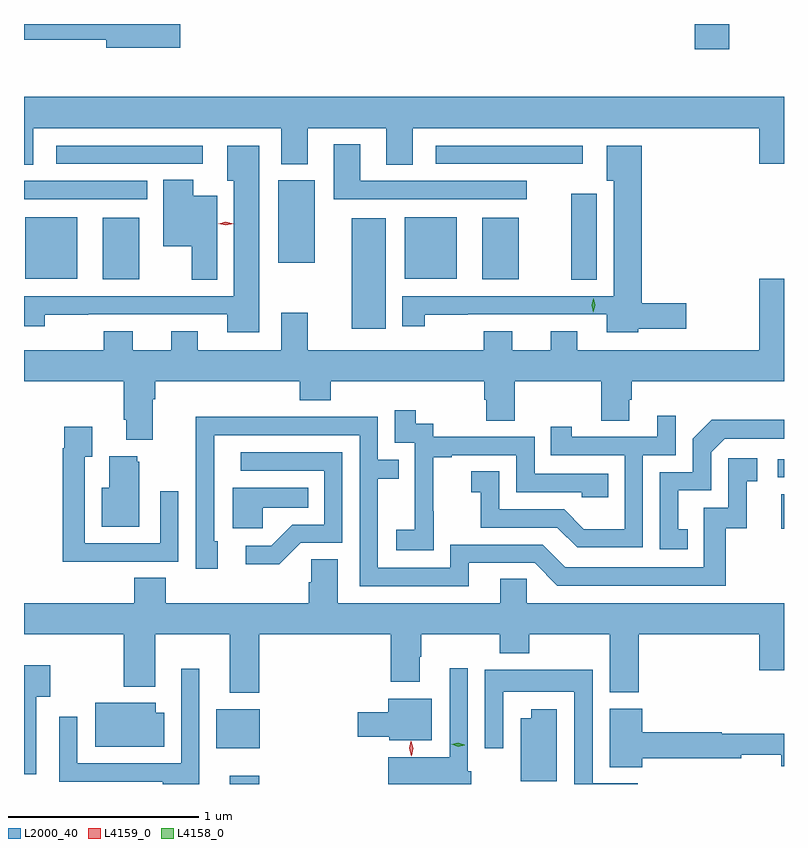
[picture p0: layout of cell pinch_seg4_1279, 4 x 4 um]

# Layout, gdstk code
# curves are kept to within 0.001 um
import gdstk
lib = gdstk.Library(unit=1e-6, precision=1e-09)
def R(c, l, rs):  # rectangles x0, y0, x1, y1
    for r in rs: c.add(gdstk.rectangle(r[:2], r[2:], *l))
def P(c, l, *ps):  # polygons
    for p in ps: c.add(gdstk.Polygon(p, *l))
L2000_40 = (2000, 40)
L4158_0 = (4158, 0)
L4159_0 = (4159, 0)

pinch_seg4_1279 = lib.new_cell('pinch_seg4_1279')
R(pinch_seg4_1279, L2000_40, [(354.029,773.388,354.182,773.431), (353.957,773.576,354.187,773.782), (356.93,774.732,356.945,774.913), (356.913,775.002,356.945,775.098), (354.671,775.784,354.85,776.365), (355.826,776.041,355.96,776.494), (353.36,776.045,353.551,776.368), (355.358,776.045,355.549,776.368), (352.952,776.048,353.224,776.371), (354.95,776.048,355.222,776.371), (354.284,776.132,354.475,776.566), (352.945,776.466,353.593,776.562), (353.115,776.652,353.887,776.748), (355.113,776.652,355.885,776.748), (356.474,777.255,356.657,777.388)])
P(pinch_seg4_1279, L2000_40, [(353.767,777.388),(352.945,777.388),(352.945,777.306),(353.378,777.306),(353.378,777.263),(353.767,777.263)],
  [(352.993,776.84),(354.299,776.84),(354.299,776.651),(354.439,776.651),(354.439,776.84),(354.851,776.84),(354.851,776.647),(354.991,776.647),(354.991,776.84),(356.816,776.84),(356.816,776.652),(356.945,776.652),(356.945,777.004),(352.945,777.004),(352.945,776.647),(352.993,776.647)],
  [(355.591,776.562),(354.715,776.562),(354.715,776.755),(354.575,776.755),(354.575,776.466),(355.591,776.466)],
  [(354.184,776.746),(354.014,776.746),(354.014,776.564),(354.05,776.564),(354.05,775.956),(352.945,775.956),(352.945,775.797),(353.055,775.797),(353.055,775.859),(353.282,775.859),(353.282,775.86),(354.014,775.86),(354.014,775.766),(354.184,775.766)],
  [(356.178,775.784),(356.431,775.784),(356.431,775.919),(356.195,775.919),(356.195,776.746),(356.012,776.746),(356.012,776.564),(356.048,776.564),(356.048,775.956),(354.935,775.956),(354.935,775.797),(355.053,775.797),(355.053,775.859),(355.28,775.859),(355.28,775.86),(356.012,775.86),(356.012,775.766),(356.178,775.766)],
  [(353.962,776.485),(353.836,776.485),(353.836,776.567),(353.678,776.567),(353.678,776.219),(353.828,776.219),(353.828,776.041),(353.962,776.041)],
  [(353.623,775.412),(353.636,775.412),(353.636,775.508),(354.395,775.508),(354.395,775.409),(354.56,775.409),(354.56,775.508),(355.367,775.508),(355.367,775.41),(355.379,775.41),(355.379,775.3),(355.527,775.3),(355.527,775.508),(355.984,775.508),(355.984,775.3),(356.131,775.3),(356.131,775.41),(356.144,775.41),(356.144,775.508),(356.945,775.508),(356.945,776.047),(356.816,776.047),(356.816,775.672),(355.858,775.672),(355.858,775.771),(355.718,775.771),(355.718,775.672),(355.516,775.672),(355.516,775.771),(355.364,775.771),(355.364,775.672),(354.439,775.672),(354.439,775.867),(354.299,775.867),(354.299,775.672),(353.86,775.672),(353.86,775.771),(353.72,775.771),(353.72,775.672),(353.518,775.672),(353.518,775.771),(353.366,775.771),(353.366,775.672),(352.945,775.672),(352.945,775.508),(353.471,775.508),(353.471,775.306),(353.483,775.306),(353.483,775.199),(353.623,775.199)],
  [(355.101,774.823),(355.1,774.823),(355.1,775.107),(355.195,775.107),(355.195,775.119),(355.536,775.119),(355.536,774.924),(355.881,774.924),(355.881,774.897),(356.021,774.897),(356.021,775.02),(355.632,775.02),(355.632,775.215),(355.098,775.215),(355.098,775.284),(355.006,775.284),(355.006,775.354),(354.897,775.354),(354.897,775.185),(355.002,775.185),(355.002,774.956),(355.001,774.956),(355.001,774.727),(354.903,774.727),(354.903,774.617),(355.101,774.617)],
  [(356.202,775.119),(356.376,775.119),(356.376,775.327),(356.279,775.327),(356.279,775.215),(355.828,775.215),(355.828,775.267),(355.717,775.267),(355.717,775.119),(356.106,775.119),(356.106,774.73),(355.892,774.73),(355.788,774.834),(355.446,774.834),(355.446,775.033),(355.299,775.033),(355.299,774.923),(355.348,774.923),(355.348,774.738),(355.751,774.738),(355.856,774.633),(356.202,774.633)],
  [(355.285,774.552),(355.632,774.552),(355.752,774.432),(356.639,774.432),(356.639,774.735),(356.75,774.735),(356.75,774.981),(356.803,774.981),(356.803,775.102),(356.652,775.102),(356.652,774.843),(356.523,774.843),(356.523,774.528),(355.794,774.528),(355.674,774.648),(355.188,774.648),(355.188,774.525),(354.807,774.525),(354.807,774.994),(354.917,774.994),(354.917,775.095),(354.807,775.095),(354.807,775.32),(354.311,775.32),(354.311,775.322),(353.848,775.322),(353.848,775.015),(353.85,775.015),(353.85,774.522),(353.965,774.522),(353.965,774.666),(353.946,774.666),(353.947,775.224),(354.711,775.224),(354.711,774.429),(355.285,774.429)],
  [(356.438,774.729),(356.389,774.729),(356.389,774.933),(356.562,774.933),(356.562,775.134),(356.634,775.206),(356.945,775.206),(356.945,775.304),(356.564,775.304),(356.466,775.206),(356.466,775.029),(356.292,775.029),(356.292,774.624),(356.438,774.624)],
  [(353.441,774.558),(353.757,774.558),(353.757,774.928),(353.661,774.928),(353.661,774.654),(353.265,774.654),(353.265,775.111),(353.305,775.111),(353.305,775.267),(353.157,775.267),(353.157,775.154),(353.149,775.154),(353.149,774.557),(353.441,774.557)],
  [(354.402,774.657),(354.621,774.657),(354.621,775.134),(354.087,775.134),(354.087,775.038),(354.525,775.038),(354.525,774.753),(354.356,774.753),(354.245,774.642),(354.111,774.642),(354.111,774.545),(354.289,774.545)],
  [(353.551,775.083),(353.54,775.083),(353.54,775.114),(353.393,775.114),(353.393,774.946),(353.354,774.946),(353.354,774.743),(353.551,774.743)],
  [(354.201,774.842),(354.44,774.842),(354.44,774.946),(354.044,774.946),(354.044,774.734),(354.201,774.734)],
  [(354.182,774.176),(354.875,774.176),(354.875,773.925),(355.027,773.925),(355.027,774.059),(355.035,774.059),(355.035,774.176),(355.45,774.176),(355.45,774.077),(355.605,774.077),(355.605,774.176),(356.027,774.176),(356.027,773.87),(356.18,773.87),(356.18,774.176),(356.816,774.176),(356.816,773.988),(356.945,773.988),(356.945,774.34),(355.59,774.34),(355.59,774.467),(355.451,774.467),(355.451,774.34),(354.595,774.34),(354.595,774.572),(354.456,774.572),(354.456,774.449),(354.443,774.449),(354.443,774.34),(353.69,774.34),(353.69,774.473),(353.525,774.473),(353.525,774.34),(352.945,774.34),(352.945,774.176),(353.471,774.176),(353.471,773.9),(353.635,773.9),(353.635,774.176),(354.029,774.176),(354.029,773.867),(354.182,773.867)],
  [(353.01,773.846),(353.083,773.846),(353.083,774.013),(352.945,774.013),(352.945,773.439),(353.01,773.439)],
  [(355.3,773.454),(355.281,773.454),(355.281,773.998),(355.185,773.998),(355.185,773.53),(354.863,773.53),(354.863,773.388),(355.3,773.388)],
  [(353.868,773.995),(353.772,773.995),(353.772,773.496),(353.226,773.496),(353.226,773.743),(353.13,773.743),(353.13,773.4),(353.675,773.4),(353.675,773.388),(353.868,773.388)],
  [(356.176,773.391),(355.938,773.391),(355.938,773.989),(355.371,773.989),(355.371,773.577),(355.467,773.577),(355.467,773.873),(355.842,773.873),(355.842,773.388),(356.176,773.388)],
  [(355.09,773.836),(354.863,773.836),(354.863,773.766),(354.702,773.766),(354.702,773.636),(354.867,773.636),(354.867,773.618),(355.09,773.618)],
  [(353.683,773.764),(353.638,773.764),(353.638,773.815),(353.321,773.815),(353.321,773.585),(353.683,773.585)],
  [(356.198,773.524),(356.72,773.524),(356.72,773.543),(356.93,773.543),(356.93,773.482),(356.945,773.482),(356.945,773.653),(356.618,773.653),(356.618,773.66),(356.198,773.66),(356.198,773.785),(356.027,773.785),(356.027,773.476),(356.198,773.476)],
  [(355.75,773.782),(355.616,773.782),(355.616,773.734),(355.559,773.734),(355.559,773.402),(355.75,773.402)])
P(pinch_seg4_1279, L4158_0, [(355.941,775.871),(355.941,775.872),(355.932,775.907),(355.942,775.942),(355.943,775.942),(355.943,775.942),(355.952,775.907),(355.941,775.872)],
  [(355.23,773.585),(355.194,773.596),(355.194,773.597),(355.194,773.597),(355.231,773.605),(355.266,773.594),(355.266,773.593),(355.266,773.593)])
P(pinch_seg4_1279, L4159_0, [(354.984,773.537),(354.984,773.537),(354.973,773.575),(354.981,773.613),(354.982,773.613),(354.982,773.613),(354.993,773.575),(354.985,773.537)],
  [(354.008,776.328),(353.967,776.338),(353.967,776.338),(353.967,776.338),(354.008,776.348),(354.048,776.338),(354.049,776.338),(354.048,776.338)])

lib.write_gds('pinch_seg4_1279.gds')
